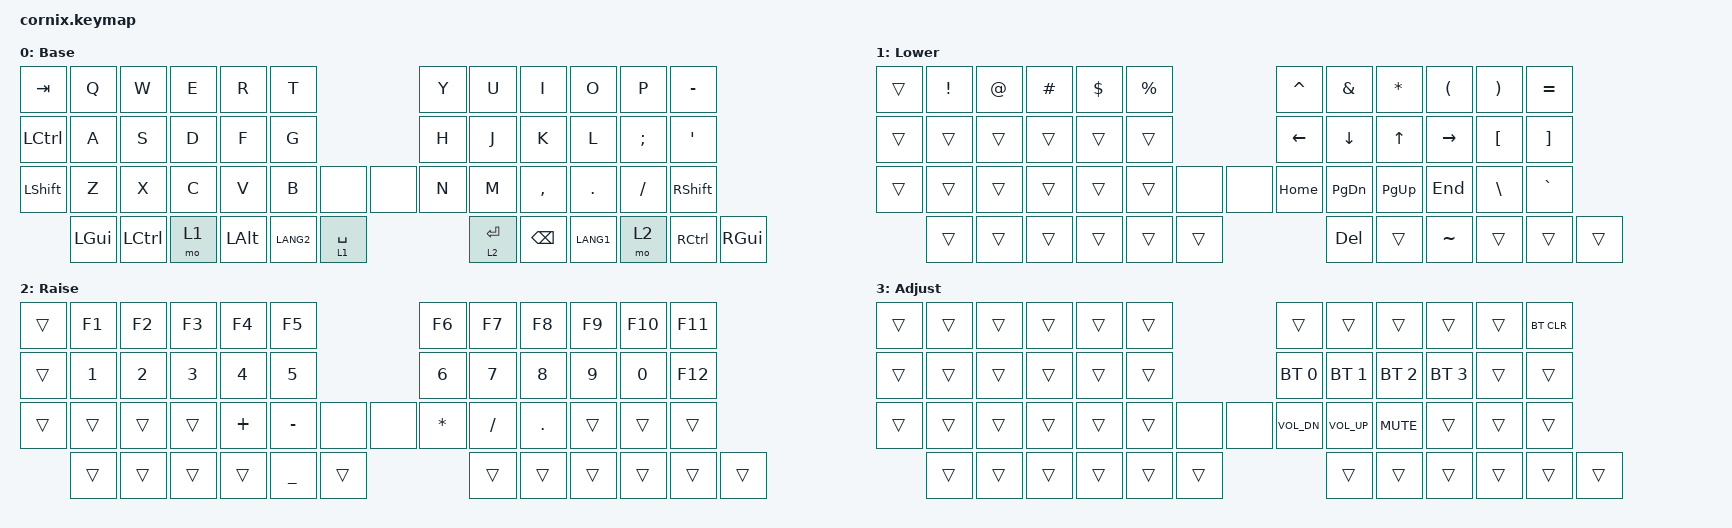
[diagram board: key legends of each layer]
/*
 * Cornix カスタム keymap（nashiko 設計 2026-04-23 → 50ポジション実装 2026-06-21）
 *
 * レイヤー:
 *   0: Base   — QWERTY + 日本語IME (LANG1/LANG2)
 *   1: Lower  — 記号 + ナビ (左サム SPC hold)
 *   2: Raise  — 数字 + Fキー (右サム ENT hold)
 *   3: Adjust — Bluetooth / 音量 (Lower + Raise 同時 = tri-layer)
 *
 * サム: 左[ALT][LANG2/無変換][SPC→L1]  右[ENT→L2][BSPC][LANG1/変換]
 * BT  : Adjust で BT0=メインPC / BT1=サブ / BT2=iPad / BT3=予備
 *
 * ※この板は 50ポジションの matrix-transform。物理は 3行×6+親指3＝42キーで、
 *   残り8ポジション（行2の中央2＋親指の外側各3）は &none で埋める。
 * ※ESCは設計に無かったため Q+W コンボで補完（末尾 combos）。
 */

#include <behaviors.dtsi>
#include <dt-bindings/zmk/keys.h>
#include <dt-bindings/zmk/bt.h>

/ {
    /* Lower(1) + Raise(2) 同時で Adjust(3) を自動有効化 */
    conditional_layers {
        compatible = "zmk,conditional-layers";
        tri_layer {
            if-layers = <1 2>;
            then-layer = <3>;
        };
    };

    /* ESC が設計に無いため補完（Q + W 同時押し）。不要ならこの combos ブロックごと削除可 */
    combos {
        compatible = "zmk,combos";
        combo_esc {
            bindings = <&kp ESC>;
            key-positions = <1 2>;   // 0=TAB, 1=Q, 2=W
            layers = <0>;
            timeout-ms = <40>;
        };
    };

    keymap {
        compatible = "zmk,keymap";

        // ─────────────────────────────────────────────────────────────
        // Layer 0: Base (QWERTY + IME)
        //  TAB  Q W E R T  |  Y U I O P  -
        //  CTRL A S D F G  |  H J K L ;  '
        //  SHFT Z X C V B  |  N M , . /  SHFT
        //        ALT LNG2 SPC/L1 | ENT/L2 BSPC LNG1
        // ─────────────────────────────────────────────────────────────
        default_layer {
            display-name = "Base";
            bindings = <
   &kp TAB    &kp Q  &kp W  &kp E  &kp R  &kp T                        &kp Y     &kp U     &kp I      &kp O    &kp P     &kp MINUS
   &kp LCTRL  &kp A  &kp S  &kp D  &kp F  &kp G                        &kp H     &kp J     &kp K      &kp L    &kp SEMI  &kp SQT
   &kp LSHFT  &kp Z  &kp X  &kp C  &kp V  &kp B    &none    &none      &kp N     &kp M     &kp COMMA  &kp DOT  &kp FSLH  &kp RSHFT
              &kp LGUI  &kp LCTRL  &mo 1   &kp LALT  &kp LANG2  &lt 1 SPACE      &lt 2 RET  &kp BSPC  &kp LANG1   &mo 2  &kp RCTRL  &kp RGUI
            >;
        };

        // ─────────────────────────────────────────────────────────────
        // Layer 1: Lower (記号 + ナビ) — 左サム SPC hold
        //  ! @ # $ %  |  ^ & * ( ) =
        //  ・・・・・  |  ← ↓ ↑ → [ ]
        //  ・・・・・  |  Home PgDn PgUp End \ `
        //              | DEL  ・  ~
        // ─────────────────────────────────────────────────────────────
        lower_layer {
            display-name = "Lower";
            bindings = <
   &trans  &kp EXCL  &kp AT  &kp HASH  &kp DLLR  &kp PRCNT                  &kp CARET  &kp AMPS   &kp ASTRK  &kp LPAR   &kp RPAR  &kp EQUAL
   &trans  &trans    &trans  &trans    &trans    &trans                     &kp LEFT   &kp DOWN   &kp UP     &kp RIGHT  &kp LBKT  &kp RBKT
   &trans  &trans    &trans  &trans    &trans    &trans   &none    &none    &kp HOME   &kp PG_DN  &kp PG_UP  &kp END    &kp BSLH  &kp GRAVE
              &trans  &trans  &trans   &trans  &trans  &trans           &kp DEL  &trans  &kp TILDE   &trans  &trans  &trans
            >;
        };

        // ─────────────────────────────────────────────────────────────
        // Layer 2: Raise (数字 + Fキー) — 右サム ENT hold
        //  F1..F5  |  F6..F11
        //  1..5    |  6..0 F12
        //  ・・+ -  |  * / .
        //      _   |
        // ─────────────────────────────────────────────────────────────
        raise_layer {
            display-name = "Raise";
            bindings = <
   &trans  &kp F1  &kp F2  &kp F3  &kp F4    &kp F5                       &kp F6     &kp F7    &kp F8   &kp F9  &kp F10  &kp F11
   &trans  &kp N1  &kp N2  &kp N3  &kp N4    &kp N5                       &kp N6     &kp N7    &kp N8   &kp N9  &kp N0   &kp F12
   &trans  &trans  &trans  &trans  &kp PLUS  &kp MINUS  &none    &none    &kp ASTRK  &kp FSLH  &kp DOT  &trans  &trans   &trans
              &trans  &trans  &trans   &trans  &kp UNDER  &trans       &trans  &trans  &trans   &trans  &trans  &trans
            >;
        };

        // ─────────────────────────────────────────────────────────────
        // Layer 3: Adjust (Bluetooth + 音量) — Lower + Raise 同時
        //  ・・・・・  |  ・・・・・ BTCLR
        //  ・・・・・  |  BT0 BT1 BT2 BT3
        //  ・・・・・  |  Vol- Vol+ Mute
        // ─────────────────────────────────────────────────────────────
        adjust_layer {
            display-name = "Adjust";
            bindings = <
   &trans  &trans  &trans  &trans  &trans  &trans                          &trans        &trans        &trans       &trans        &trans  &bt BT_CLR
   &trans  &trans  &trans  &trans  &trans  &trans                          &bt BT_SEL 0  &bt BT_SEL 1  &bt BT_SEL 2 &bt BT_SEL 3  &trans  &trans
   &trans  &trans  &trans  &trans  &trans  &trans   &none    &none         &kp C_VOL_DN  &kp C_VOL_UP  &kp C_MUTE   &trans        &trans  &trans
              &trans  &trans  &trans   &trans  &trans  &trans           &trans  &trans  &trans   &trans  &trans  &trans
            >;
        };
    };
};
